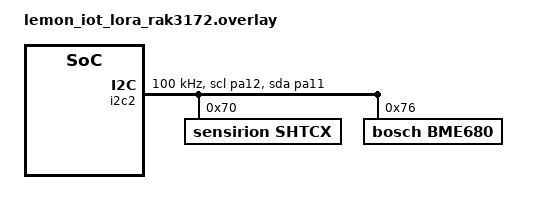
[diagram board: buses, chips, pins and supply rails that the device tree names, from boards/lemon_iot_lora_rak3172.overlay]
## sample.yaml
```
sample:
  description: Simple LoRaWAN Node Zephyr application
  name: LoRaWAN Node
```

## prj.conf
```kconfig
CONFIG_SERIAL=y
CONFIG_CONSOLE=y
CONFIG_UART_CONSOLE=y
CONFIG_CONSOLE_SUBSYS=y
CONFIG_CONSOLE_GETLINE=y

# Use Segger RTT Console
#CONFIG_RTT_CONSOLE=y
#CONFIG_USE_SEGGER_RTT=y

CONFIG_LOG=y

CONFIG_SPI=y
CONFIG_I2C=y
#CONFIG_LOG_DEFAULT_LEVEL=4
#CONFIG_LOG_BACKEND_UART=y

CONFIG_NEWLIB_LIBC=y
CONFIG_NEWLIB_LIBC_FLOAT_PRINTF=y
CONFIG_CBPRINTF_FP_SUPPORT=y

CONFIG_LORA=y
CONFIG_LORA_LOG_LEVEL_DBG=n

CONFIG_LORAWAN=y
CONFIG_LORAWAN_LOG_LEVEL_DBG=y
CONFIG_LORAMAC_REGION_AU915=y

CONFIG_MAIN_STACK_SIZE=2048
CONFIG_SYSTEM_WORKQUEUE_STACK_SIZE=2048

CONFIG_FLASH=y
CONFIG_FLASH_PAGE_LAYOUT=y
CONFIG_NVS=y
CONFIG_MPU_ALLOW_FLASH_WRITE=y

CONFIG_TEST_RANDOM_GENERATOR=y
```

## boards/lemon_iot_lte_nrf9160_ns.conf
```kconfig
CONFIG_LORA_SX127X=y
```

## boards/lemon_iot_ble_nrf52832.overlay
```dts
// DeviceTree overlay for Lemon IoT BLE nRF52832
// SPDX-License-Identifier: Apache-2.0

/ {
	aliases {
		lora0 = &lora;
		sensorbus = &i2c1;
	};
};

&pinctrl {

	spi0_sleep: spi0_sleep {
		group1 {
			psels = <NRF_PSEL(SPIM_SCK, 0, 30)>,
				<NRF_PSEL(SPIM_MOSI, 0, 26)>,
				<NRF_PSEL(SPIM_MISO, 0, 27)>;
			low-power-enable;
		};
	};
	spi0_default: spi0_default {
		group1 {
			psels = <NRF_PSEL(SPIM_SCK, 0, 30)>,
				<NRF_PSEL(SPIM_MOSI, 0, 26)>,
				<NRF_PSEL(SPIM_MISO, 0, 27)>;
		};
	};

	i2c1_default: i2c1_default {
		group1 {
			psels = <NRF_PSEL(TWIM_SDA, 0, 18)>,
				<NRF_PSEL(TWIM_SCL, 0, 19)>;
				bias-pull-up;
		};
	};

	i2c1_sleep: i2c1_sleep {
		group1 {
			psels = <NRF_PSEL(TWIM_SDA, 0, 18)>,
				<NRF_PSEL(TWIM_SCL, 0, 19)>;
			low-power-enable;
		};
	};

};

&spi0 {
	compatible = "nordic,nrf-spi";
	status = "okay";
	cs-gpios = <&gpio0 31 GPIO_ACTIVE_LOW>;
	pinctrl-0 = <&spi0_default>;
	pinctrl-1 = <&spi0_sleep>;
	pinctrl-names = "default", "sleep";
	lora: sx1276@0 {
		compatible = "semtech,sx1276";
		reg = <0>;
		reset-gpios = <&gpio0 28 GPIO_ACTIVE_LOW>;
		dio-gpios = <&gpio0 25 (GPIO_PULL_DOWN | GPIO_ACTIVE_HIGH)>,
					<&gpio0 24 (GPIO_PULL_DOWN | GPIO_ACTIVE_HIGH)>,
					<&gpio0 23 (GPIO_PULL_DOWN | GPIO_ACTIVE_HIGH)>;
		power-amplifier-output = "pa-boost";
		spi-max-frequency = <125000>;
	};
};

&i2c1 {
	compatible = "nordic,nrf-twim";
	status = "okay";
	pinctrl-0 = <&i2c1_default>;
	pinctrl-1 = <&i2c1_sleep>;
	pinctrl-names = "default", "sleep";
	clock-frequency = <100000>;
};
```

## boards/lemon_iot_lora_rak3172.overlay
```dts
// DeviceTree overlay for Lemon IoT LoRa RAK3172
// SPDX-License-Identifier: Apache-2.0

/ {
	aliases {
		sensorbus = &i2c2;
	};
};

&i2c2 {
	pinctrl-0 = <&i2c2_scl_pa12 &i2c2_sda_pa11>;
	pinctrl-names = "default";
	status = "okay";
	clock-frequency = <100000>;
	shtcx@70 {
		compatible = "sensirion,shtcx";
		reg = <0x70>;
		chip = "shtc3";
		measure-mode = "normal";
	};
	bme680@76 {
		compatible = "bosch,bme680";
		reg = <0x76>;
	};
};
```

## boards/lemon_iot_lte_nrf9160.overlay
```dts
// DeviceTree overlay for Lemon IoT LTE nRF9160
// SPDX-License-Identifier: Apache-2.0

/ {
	aliases {
		lora0 = &lora;
		sensorbus = &i2c2;
	};
};

&pinctrl {

	spi1_sleep: spi1_sleep {
		group1 {
			psels = <NRF_PSEL(SPIM_SCK, 0, 30)>,
					<NRF_PSEL(SPIM_MOSI, 0, 26)>,
					<NRF_PSEL(SPIM_MISO, 0, 27)>;
			low-power-enable;
		};
	};
	spi1_default: spi1_default {
		group1 {
			psels = <NRF_PSEL(SPIM_SCK, 0, 30)>,
				<NRF_PSEL(SPIM_MOSI, 0, 26)>,
				<NRF_PSEL(SPIM_MISO, 0, 27)>;
		};
	};

	i2c2_default: i2c2_default {
		group1 {
			psels = <NRF_PSEL(TWIM_SDA, 0, 20)>,
				<NRF_PSEL(TWIM_SCL, 0, 21)>;
				bias-pull-up;
		};
	};

	i2c2_sleep: i2c2_sleep {
		group1 {
			psels = <NRF_PSEL(TWIM_SDA, 0, 20)>,
				<NRF_PSEL(TWIM_SCL, 0, 21)>;
			low-power-enable;
		};
	};
};

&spi1 {
	compatible = "nordic,nrf-spim";
	status = "okay";
	cs-gpios = <&gpio0 31 GPIO_ACTIVE_LOW>;
	pinctrl-0 = <&spi1_default>;
	pinctrl-1 = <&spi1_sleep>;
	pinctrl-names = "default", "sleep";
	lora: sx1276@0 {
		compatible = "semtech,sx1276";
		reg = <0>;
		reset-gpios = <&gpio0 0 GPIO_ACTIVE_LOW>;
		dio-gpios = <&gpio0 25 (GPIO_PULL_DOWN | GPIO_ACTIVE_HIGH)>,
					<&gpio0 24 (GPIO_PULL_DOWN | GPIO_ACTIVE_HIGH)>,
					<&gpio0 23 (GPIO_PULL_DOWN | GPIO_ACTIVE_HIGH)>;
		power-amplifier-output = "pa-boost";
		spi-max-frequency = <125000>;
	};
};

&i2c2 {
	compatible = "nordic,nrf-twim";
	status = "okay";
	pinctrl-0 = <&i2c2_default>;
	pinctrl-1 = <&i2c2_sleep>;
	pinctrl-names = "default", "sleep";
	clock-frequency = <100000>;
};
```

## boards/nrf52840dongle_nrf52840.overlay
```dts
// DeviceTree overlay for Nordic nRF52840 Dongle
// SPDX-License-Identifier: Apache-2.0

/ {
    aliases {
        lora0 = &lora;
    };
};

&pinctrl {

	uart0_default: uart0_default {
		group1 {
			psels = <NRF_PSEL(UART_TX, 0, 13)>;
		};
		group2 {
			psels = <NRF_PSEL(UART_RX, 0, 15)>;
			bias-pull-up;
		};
	};

	uart0_sleep: uart0_sleep {
		group1 {
			psels = <NRF_PSEL(UART_TX, 0, 13)>,
				<NRF_PSEL(UART_RX, 0, 15)>;
			low-power-enable;
		};
	};

    spi1_sleep: spi1_sleep {
        group1 {
            psels = <NRF_PSEL(SPIM_SCK, 0, 31)>,
                <NRF_PSEL(SPIM_MOSI, 0, 29)>,
                <NRF_PSEL(SPIM_MISO, 0, 2)>;
            low-power-enable;
        };
    };
    spi1_default: spi1_default {
        group1 {
            psels = <NRF_PSEL(SPIM_SCK, 0, 31)>,
                <NRF_PSEL(SPIM_MOSI, 0, 29)>,
                <NRF_PSEL(SPIM_MISO, 0, 2)>;
        };
    };
};

// https://docs.zephyrproject.org/latest/build/dts/api/bindings/lora/semtech,sx1276.html

&uart0 {
	compatible = "nordic,nrf-uarte";
	status = "okay";
	current-speed = <115200>;
	pinctrl-0 = <&uart0_default>;
	pinctrl-1 = <&uart0_sleep>;
	pinctrl-names = "default", "sleep";
};

&spi1 {
	compatible = "nordic,nrf-spim";
	status = "okay";
	cs-gpios = <&gpio1 15 GPIO_ACTIVE_LOW>;
	pinctrl-0 = <&spi1_default>;
	pinctrl-1 = <&spi1_sleep>;
	pinctrl-names = "default", "sleep";
	lora: sx1276@0 {
        compatible = "semtech,sx1276";
        reg = <0>;
        reset-gpios = <&gpio1 13 GPIO_ACTIVE_LOW>;
        dio-gpios = <&gpio0 24 (GPIO_PULL_DOWN | GPIO_ACTIVE_HIGH)>,
                    <&gpio0 22 (GPIO_PULL_DOWN | GPIO_ACTIVE_HIGH)>,
                    <&gpio0 17 (GPIO_PULL_DOWN | GPIO_ACTIVE_HIGH)>;
	power-amplifier-output = "pa-boost";
	spi-max-frequency = <125000>;
    };
};
```

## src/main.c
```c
/*
 * Class A LoRaWAN sample application
 *
 * Copyright (c) 2023 Craig Peacock
 * Copyright (c) 2020 Manivannan Sadhasivam <mani@kernel.org>
 *
 * SPDX-License-Identifier: Apache-2.0
 */

#include <stdio.h>
#include <string.h>
#include <zephyr/device.h>
#include <zephyr/kernel.h>
#include <zephyr/lorawan/lorawan.h>
#include <zephyr/drivers/i2c.h>

#include <zephyr/drivers/flash.h>
#include <zephyr/storage/flash_map.h>
#include <zephyr/fs/nvs.h>

#include "nvs.h"

#include "shtc3.h"
#include "lorawan.h"

#define DELAY K_MINUTES(10)

#define LOG_LEVEL CONFIG_LOG_DBG_LEVEL
#include <zephyr/logging/log.h>
LOG_MODULE_REGISTER(main);

static void dl_callback(uint8_t port, bool data_pending, int16_t rssi, int8_t snr, uint8_t len, const uint8_t *data)
{
	LOG_INF("Port %d, Pending %d, RSSI %ddB, SNR %ddBm", port, data_pending, rssi, snr);
	if (data) {
		LOG_HEXDUMP_INF(data, len, "Payload: ");
	}
}

static void lorwan_datarate_changed(enum lorawan_datarate dr)
{
	uint8_t unused, max_size;

	lorawan_get_payload_sizes(&unused, &max_size);
	LOG_INF("New Datarate: DR_%d, Max Payload %d", dr, max_size);
}

int main(void)
{
	const struct device *lora_dev;
	const struct device *i2c_dev;
	static struct nvs_fs fs;
	
	struct lorawan_join_config join_cfg;
	uint16_t dev_nonce = 0;
	uint16_t payload[2];

#ifdef LORAWAN_USE_NVS 
	uint8_t dev_eui[8];
	uint8_t join_eui[8];
	uint8_t app_key[16];
	
#else
	uint8_t dev_eui[] = LORAWAN_DEV_EUI;
	uint8_t join_eui[] = LORAWAN_JOIN_EUI;
	uint8_t app_key[] = LORAWAN_APP_KEY;
#endif

	
	int ret;
	ssize_t bytes_written;

	LOG_INF("Zephyr LoRaWAN Node Example, Board: %s", CONFIG_BOARD);

	nvs_initialise(&fs);
	nvs_read_init_parameter(&fs, NVS_DEVNONCE_ID, &dev_nonce);
#ifdef LORAWAN_USE_NVS 
	nvs_read_init_parameter(&fs, NVS_LORAWAN_DEV_EUI_ID, dev_eui);
	nvs_read_init_parameter(&fs, NVS_LORAWAN_JOIN_EUI_ID, join_eui);
	nvs_read_init_parameter(&fs, NVS_LORAWAN_APP_KEY_ID, app_key);
#endif

	i2c_dev = DEVICE_DT_GET(DT_ALIAS(sensorbus));
	if (!i2c_dev) {
		LOG_ERR("I2C: Device driver not found.");
		return(-1);
	} else {
		//i2c_configure(i2c_dev, I2C_SPEED_SET(I2C_SPEED_STANDARD));
	}

	lora_dev = DEVICE_DT_GET(DT_ALIAS(lora0));
	if (!device_is_ready(lora_dev)) {
		LOG_ERR("%s: device not ready.", lora_dev->name);
		return(-1);
	}

	LOG_INF("Starting LoRaWAN stack.");
	ret = lorawan_start();
	if (ret < 0) {
		LOG_ERR("lorawan_start failed: %d", ret);
		return(-1);
	}

	// Enable callbacks
	struct lorawan_downlink_cb downlink_cb = {
		.port = LW_RECV_PORT_ANY,
		.cb = dl_callback
	};

	lorawan_register_downlink_callback(&downlink_cb);
	lorawan_register_dr_changed_callback(lorwan_datarate_changed);

	join_cfg.mode = LORAWAN_ACT_OTAA;
	join_cfg.dev_eui = dev_eui;
	join_cfg.otaa.join_eui = join_eui;
	join_cfg.otaa.app_key = app_key;
	join_cfg.otaa.nwk_key = app_key;
	join_cfg.otaa.dev_nonce = dev_nonce;

	int i = 1;

	do {
		LOG_INF("Joining network using OTAA, dev nonce %d, attempt %d", join_cfg.otaa.dev_nonce, i++);
		ret = lorawan_join(&join_cfg);
		if (ret < 0) {
			if ((ret =-ETIMEDOUT)) {
				LOG_WRN("Timed-out waiting for response.");
			} else {
				LOG_ERR("Join failed (%d)", ret);
			}
		} else {
			LOG_INF("Join successful.");
		}

		// Increment DevNonce as per LoRaWAN 1.0.4 Spec.
		dev_nonce++;
		join_cfg.otaa.dev_nonce = dev_nonce;
		// Save value away in Non-Volatile Storage.
		bytes_written = nvs_write(&fs, NVS_DEVNONCE_ID, &dev_nonce, sizeof(dev_nonce));
		if (bytes_written < 0) {
			LOG_ERR("NVS: Failed to write id %d (%d)", NVS_DEVNONCE_ID, bytes_written);
		} else {
			//LOG_INF("NVS: Wrote %d bytes to id %d",bytes_written, NVS_DEVNONCE_ID);
		}

		if (ret < 0) {
			// If failed, wait before re-trying.
			k_sleep(K_MSEC(5000));
		}

	} while (ret != 0);

#ifdef LORAWAN_CLASS_C
	LOG_INF("Setting device to Class C");
	ret = lorawan_set_class(LORAWAN_CLASS_C);
	if (ret != 0) {
		LOG_ERR("Failed to set LoRaWAN class: %d", ret);
	}
#endif

	while (1) {

		shtc3_wakeup(i2c_dev);
		k_msleep(1);
		ret = shtc3_GetTempAndHumidity(i2c_dev, &payload[0], &payload[1]);
		if (ret != SHTC3_NO_ERROR) {
			payload[0] = 0x0000;
			payload[1] = 0x0000;
		}
		shtc3_sleep(i2c_dev);
		LOG_INF("Sending Temp %.02f RH %.01f", shtc3_convert_temp(payload[0]), shtc3_convert_humd(payload[1])); 
	
		ret = lorawan_send(2, (uint8_t *)&payload, sizeof(payload), LORAWAN_MSG_UNCONFIRMED);
		if (ret == -EAGAIN) {
			LOG_ERR("lorawan_send failed: %d. Continuing...", ret);
			k_sleep(DELAY);
			continue;
		} else if (ret < 0) {
			LOG_ERR("lorawan_send failed: %d", ret);
			return(-1);
		}

		LOG_INF("Data sent");
		k_sleep(DELAY);
	}
}
```

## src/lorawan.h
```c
/*
 * LoRaWAN sample application
 *
 * SPDX-License-Identifier: Apache-2.0
 */

#define LORAWAN_DEV_EUI         { 0x00, 0x00, 0x00, 0x00, 0x00, 0x00, 0x00, 0x00 }    // MSB Format!
#define LORAWAN_JOIN_EUI        { 0x00, 0x00, 0x00, 0x00, 0x00, 0x00, 0x00, 0x00 }    // MSB Format!
#define LORAWAN_APP_KEY         { 0x00, 0x00, 0x00, 0x00, 0x00, 0x00, 0x00, 0x00, 0x00, 0x00, 0x00, 0x00, 0x00, 0x00, 0x00, 0x00 }
```

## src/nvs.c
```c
/*
 * Copyright (c) 2023 Craig Peacock
 *
 * SPDX-License-Identifier: Apache-2.0
 */

#include <stdio.h>
#include <string.h>
#include <stdlib.h>
#include <zephyr/device.h>
#include <zephyr/kernel.h>
#include <zephyr/random/random.h>
#include <zephyr/console/console.h>
#include <zephyr/drivers/flash.h>
#include <zephyr/storage/flash_map.h>
#include <zephyr/fs/nvs.h>

#include "nvs.h"

// Set NVS_CLEAR to wipe NVS partition on boot.
//#define NVS_CLEAR

const int nVars = 4;
const char *nvs_name[] = {"DevNonce", "DevEUI", "JoinEUI", "AppKey"};
int nvs_len[] = {2, 8, 8, 16};

void stm32wl_ieee_64uid(uint8_t dev_eui[])
{
	//uint32_t *UID;
	//UID = (void *)0x1FFF7580;
	//printk("IEEE 64-bit UID = 0x%08X:%08X\n",*(UID+1),*UID);
	
	char dev_eui_str[8];
	uint64_t *uid;
	uid = ((void *)0x1FFF7580);
	strncpy(dev_eui_str, (char *)uid, 8);
	for (int i = 0; i < 8; i++)
		dev_eui[i] = dev_eui_str[7-i];
}

uint8_t parse_str(uint8_t *string, uint8_t **fields, uint8_t max_fields)
{
	uint8_t i = 0;

	if (*string == 0) 
		return 0;
	
	fields[i++] = string;

	while((*string != 0) && (i <= max_fields)) {
		if (*string == ' ') {
			*string = '\0';		
			fields[i++] = string + 1;
		}
		string++;
	}

	return(i);
}

void console_read_key(void *data, uint8_t len)
{
	uint8_t *key = (void *)data;
	uint8_t *buf;	
	uint16_t ret;

	console_getline_init();
	
	buf = console_getline();
	
	uint8_t *ptrhex[len];

	ret = parse_str(buf, ptrhex, len);
	//printk("Parsed %d values\n", ret);

	for (int i = 0; i < ret; i++) {
		key[i] = (strtol(ptrhex[i], NULL, 16) & 0xFF);
	}		
}

void nvs_initialise(struct nvs_fs *fs)
{
	struct flash_pages_info info;
	int ret;

	fs->flash_device = NVS_PARTITION_DEVICE;
	if (!device_is_ready(fs->flash_device)) {
		printk("Flash device %s is not ready\n", fs->flash_device->name);
		return;
	}
	fs->offset = NVS_PARTITION_OFFSET;
	ret = flash_get_page_info_by_offs(fs->flash_device, fs->offset, &info);
	if (ret) {
		printk("Unable to get page info\n");
		return;
	}
	fs->sector_size = info.size;
	fs->sector_count = 3U;

	ret = nvs_mount(fs);
	if (ret) {
		printk("Flash Init failed\n");
		return;
	}

#ifdef NVS_CLEAR
	ret = nvs_clear(fs);
	if (ret) {
		printk("Flash Clear failed\n");
		return;
	} else {
		printk("Cleared NVS from flash\n");
	}
#endif
}

void nvs_read_init_parameter(struct nvs_fs *fs, uint16_t id, void *data)
{
	int ret;
	ssize_t bytes_written;

	char *array = (void *)data;
	int *devnonce = (void *)data;

	printk("NVS ID %d %s: ", id, nvs_name[id]);
	ret = nvs_read(fs, id, data, nvs_len[id]);
	if (ret > 0) { 
		// Item found, print output:
		switch (id) {
			case NVS_DEVNONCE_ID:
				printk("%d\n", (uint16_t)*devnonce);
				break;
			case NVS_LORAWAN_DEV_EUI_ID:
			case NVS_LORAWAN_JOIN_EUI_ID:
			case NVS_LORAWAN_APP_KEY_ID:
				for (int i = 0; i < nvs_len[id]; i++)
					printk("%02X ",array[i]);
				printk("\n");
				break;
			default:
				break;
		}
	} else {
		// Item not found
		printk("Not found.\n");

		switch (id) {
			case NVS_DEVNONCE_ID:
				*devnonce = 0;
				printk("Initialised to %d.\n",*devnonce);
				break;

			case NVS_LORAWAN_DEV_EUI_ID:

#ifdef CONFIG_SOC_STM32WLE5XX
				// Get IEEE 64-bit UID from STM
				stm32wl_ieee_64uid(data);
				printk("Initialised to STM32 64-bit Dev EUI");	
				for (int i = 0; i < nvs_len[id]; i++)
					printk(" %02X",array[i]);
				printk(".\n");
#else
				printk("Enter Dev EUI: ");
				console_read_key(data, 8);
				printk("\n");				
#endif
				break;

			case NVS_LORAWAN_JOIN_EUI_ID:
				// Initialise to zero.
				// for (int i = 0; i < nvs_len[id]; i++) {
				//	array[i] = 0;
				// }					
				printk("Enter Join EUI: ");
				console_read_key(data, 8);
				printk("Setting to");
				for (int i = 0; i < nvs_len[id]; i++) {
					printk(" %02X",array[i]);
				}	
				printk(".\n");
				break;

			case NVS_LORAWAN_APP_KEY_ID:
				// Generate random key
                // sys_rand_get(data, nvs_len[id]);
				printk("Enter App Key: ");
				console_read_key(data, 16);
				printk("Setting to");
				for (int i = 0; i < nvs_len[id]; i++) {
					printk(" %02X",array[i]);
				}	
				printk(".\n");
				break;
		}

		// Write to NVS
		bytes_written = nvs_write(fs, id, data, nvs_len[id]);
		if (bytes_written < 0) {
			printf("Failed (%d).\n",bytes_written);
		} else {
			//printf("Saved %d bytes\n",bytes_written);
            printf("Saved.\n");
		}
	}
}
```

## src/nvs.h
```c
/*
 * Copyright (c) 2023 Craig Peacock
 *
 * SPDX-License-Identifier: Apache-2.0
 */

#define NVS_PARTITION			storage_partition
#define NVS_PARTITION_DEVICE	FIXED_PARTITION_DEVICE(NVS_PARTITION)
#define NVS_PARTITION_OFFSET	FIXED_PARTITION_OFFSET(NVS_PARTITION)

#define NVS_DEVNONCE_ID             0
#define NVS_LORAWAN_DEV_EUI_ID      1
#define NVS_LORAWAN_JOIN_EUI_ID     2
#define NVS_LORAWAN_APP_KEY_ID      3

void nvs_initialise(struct nvs_fs *fs);
void nvs_read_init_parameter(struct nvs_fs *fs, uint16_t id, void *data);
```

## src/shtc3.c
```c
/*
 * SHTC3 - Sensirion Humidity and Temperature Sensor Code
 *
 * SPDX-License-Identifier: Apache-2.0
 */

#include <zephyr/kernel.h>
#include <zephyr/device.h>
#include <stdint.h>
#include <zephyr/sys/printk.h>
#include <zephyr/drivers/i2c.h>
#include <zephyr/sys/byteorder.h>
#include "shtc3.h"

int8_t i2c_write_short(const struct device *i2c_dev, uint8_t address, uint8_t command, uint16_t byte)
{
    int ret;
    uint8_t data[3];

    data[0] = command;
    data[1] = (byte & 0xFF00) >> 8;
    data[2] = byte & 0xFF;

    ret = i2c_write(i2c_dev, (uint8_t *)&data, 3, address);
    if (ret) {
        printk("Error writing to I2C error code (%d)\n", ret);
        return (-1);
    }
    return(0);
}

int16_t i2c_read_short(const struct device *i2c_dev, uint8_t address, uint8_t command)
{
    int ret;
    uint16_t data;
   
    ret = i2c_write_read(i2c_dev, address, &command, 1, &data, 2);
    if (ret) {
        printk("Error reading from I2C error code (%d)\n", ret);
        return (-1);
    }

    return(__bswap_16(data));
}

uint8_t shtc3_GetTempAndHumidity(const struct device *dev, uint16_t * temperature, uint16_t * humidity)
{
    union DATA data;
    uint8_t error = 0; 

    uint16_t cmd = __bswap_16(SHTC3_READ_T_FIRST);
    int ret = i2c_write(dev, (uint8_t *)&cmd, 2, SHTC3_ADDR);

    do {    
        ret = i2c_read(dev, (uint8_t *)&data, 6, SHTC3_ADDR);
        error++;
    } while ((ret != 0) && (error < SHTC3_NO_RETRIES));
    if (ret != 0) {
        printk("SHTC3: Get Temp & Humd Error\n");
        return SHTC3_I2C_ERROR;
    }

    error = shtc3_checkcrc((uint8_t *)&data.meas.temperature, 2, data.meas.temperature_crc);
    if (error != SHTC3_NO_ERROR) {
        printk("Temperature Checksum Error\r\n");
    } else {
        *temperature = __bswap_16(data.meas.temperature);
    }
    
    error = shtc3_checkcrc((uint8_t *)&data.meas.humidity, 2, data.meas.humidity_crc);
    if (error != SHTC3_NO_ERROR) {
        printk("Humidity Checksum Error\r\n");
    } else {
        *humidity = __bswap_16(data.meas.humidity);
    }

    return SHTC3_NO_ERROR;
}

uint8_t shtc3_checkcrc(uint8_t data[], uint8_t nbrOfBytes, uint8_t checksum)
{
  uint8_t bitmask;      // Bit mask
  uint8_t crc = 0xFF;   // Calculated checksum
  uint8_t byteCtr;      // Byte counter
 
  // Calculates 8-Bit checksum with given polynomial
  for(byteCtr = 0; byteCtr < nbrOfBytes; byteCtr++) {
    crc ^= (data[byteCtr]);
    for(bitmask = 8; bitmask > 0; --bitmask) {
      if(crc & 0x80) {
        crc = (crc << 1) ^ CRC_POLYNOMIAL;
      } else {
        crc = (crc << 1);
      }
    }
  }

  // Verify checksum
  if(crc != checksum) {
    return SHTC3_CHECKSUM_ERROR;
  } else {
    return SHTC3_NO_ERROR;
  }
}

float shtc3_convert_humd(uint16_t raw_humd)
{
    float humidity = 100.0 * ((float)raw_humd / 65536);
    //printk("RH %.01f%%\r\n", humidity);
    return(humidity);
}

float shtc3_convert_temp(uint16_t raw_temp)
{
    float temperature = 175.0 * ((float)raw_temp / 65536.0) - 45.0;
    //printk("Temp %.02f degC\r\n", temperature);
    return (temperature);
}

uint8_t shtc3_wakeup(const struct device *dev)
{
    uint16_t cmd = __bswap_16(SHTC3_WAKEUP);
    int ret = i2c_write(dev, (uint8_t *)&cmd, 2, SHTC3_ADDR);
    if (ret != 0) {
        printk("SHTC3: Wakeup Error\n");
        return SHTC3_I2C_ERROR;
    }
    return SHTC3_NO_ERROR;
}

uint8_t shtc3_sleep(const struct device *dev)
{
    uint16_t cmd = __bswap_16(SHTC3_SLEEP);
    int ret = i2c_write(dev, (uint8_t *)&cmd, 2, SHTC3_ADDR);
    if (ret != 0) {
        printk("SHTC3: Sleep Error\n");
        return SHTC3_I2C_ERROR;
    }
    return SHTC3_NO_ERROR;
}

uint8_t shtc3_software_reset(const struct device *dev)
{
    uint16_t cmd = __bswap_16(SHTC3_SWRESET);
    int ret = i2c_write(dev, (uint8_t *)&cmd, 2, SHTC3_ADDR);
    if (ret != 0) {
        printk("SHTC3: Sleep Error\n");
        return SHTC3_I2C_ERROR;
    }
    return SHTC3_NO_ERROR;
}

uint8_t shtc3_readid(const struct device *dev)
{
    uint16_t cmd = __bswap_16(SHTC3_IDREG);
    uint8_t buffer[3];
    
    int ret = i2c_write_read(dev, SHTC3_ADDR, (uint8_t *)&cmd, 2, buffer, 3);
    if (ret != 0) {
        printk("SHTC3: Read ID Error\n");
        return SHTC3_I2C_ERROR;
    }
    
    printk("ID Reg = 0x%02X%02X, Checksum 0x%02X\r\n", buffer[0], buffer[1], buffer[2]);

    ret = shtc3_checkcrc((uint8_t *)&buffer[0], 2, buffer[2]);
    if (ret != SHTC3_NO_ERROR) {
        printk("Checksum Error\n");
        return SHTC3_CHECKSUM_ERROR;
    }

    return SHTC3_NO_ERROR;
}
```

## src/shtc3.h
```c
/*
 * SHTC3 - Sensirion Humidity and Temperature Sensor Code
 *
 * SPDX-License-Identifier: Apache-2.0
 */

#define SHTC3_ADDR              0x70

#define SHTC3_SLEEP             0xB098
#define SHTC3_WAKEUP            0x3517
#define SHTC3_SWRESET           0x805D     
#define SHTC3_IDREG             0xEFC8
#define SHTC3_READ_T_FIRST      0x7866
#define SHTC3_READ_RH_FIRST     0x58E0

#define CRC_POLYNOMIAL          0x131 // P(x) = x^8 + x^5 + x^4 + 1 = 100110001
#define SHTC3_NO_ERROR          0
#define SHTC3_CHECKSUM_ERROR    -1
#define SHTC3_I2C_ERROR         -2

#define SHTC3_NO_RETRIES        100

struct VALUES {
    uint16_t    temperature;
    uint8_t     temperature_crc;
    uint16_t    humidity;
    uint8_t     humidity_crc;
} __attribute__((packed));

union DATA {
    struct VALUES meas;
    uint8_t buffer[6];
};

int8_t i2c_write_short(const struct device *i2c_dev, uint8_t address, uint8_t command, uint16_t data);
int16_t i2c_read_short(const struct device *i2c_dev, uint8_t address, uint8_t command);
uint8_t shtc3_sleep(const struct device *dev);
uint8_t shtc3_wakeup(const struct device *dev);
uint8_t shtc3_readid(const struct device *dev);
uint8_t shtc3_software_reset(const struct device *dev);
uint8_t shtc3_GetTempAndHumidity(const struct device *dev, uint16_t * temperature, uint16_t * humidity);
uint8_t shtc3_checkcrc(uint8_t data[], uint8_t nbrOfBytes, uint8_t checksum);

float shtc3_convert_humd(uint16_t raw_humd);
float shtc3_convert_temp(uint16_t raw_temp);
```
